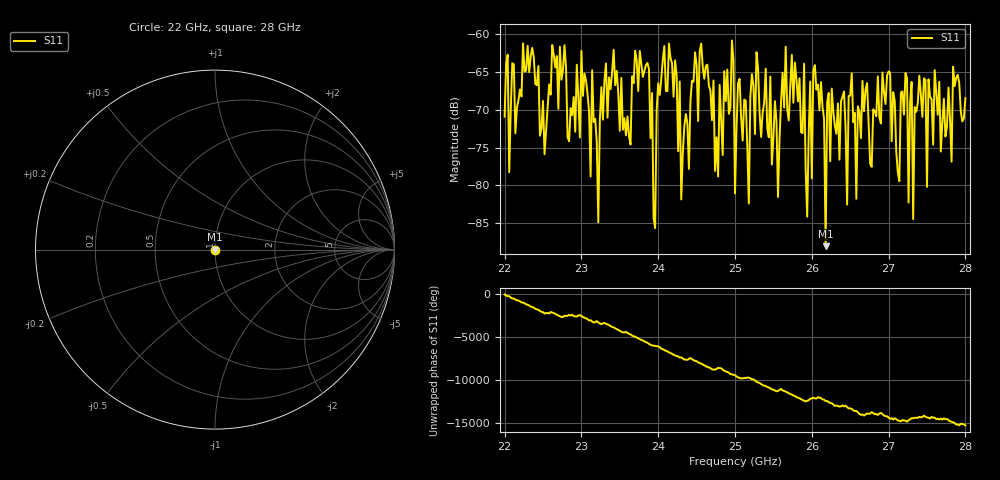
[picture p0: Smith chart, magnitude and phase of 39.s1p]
#  HZ  S  RI  R  50.00
! Rohde & Schwarz ZVA40 4Ports - Version 3.90 - 1145.1110k42 SN: 100403
! Date: 2023-10-04 09:24:13
! Measurement: S12
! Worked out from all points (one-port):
!   301 points, 22 GHz to 28 GHz, reference 50 ohm
!   lowest |S11| = -88.0 dB at 26.18 GHz (marker M1), VSWR 1.00, Z = 50 + j0.00362 ohm
!   |S11| at or under -10 dB: start of sweep to end of sweep
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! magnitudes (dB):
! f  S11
! 22 GHz  -70.9
! 22.76 GHz  -64.7
! 23.5 GHz  -72.8
! 23.76 GHz  -62.2
! 23.96 GHz  -85.6
! 24.14 GHz  -61.2
! 24.26 GHz  -75.5
! 24.56 GHz  -61.2
! 24.78 GHz  -78.8
! 24.96 GHz  -60.8
! 25 GHz  -81.1
! 25.28 GHz  -62.4
! 25.56 GHz  -81.5
! 25.66 GHz  -61.6
! 25.76 GHz  -69.0
! 26 GHz  -79.1
! 26.04 GHz  -64.1
! 26.18 GHz  -88.0
! 26.5 GHz  -68.1
! 27.14 GHz  -79.4
! 27.22 GHz  -65.1
! 27.26 GHz  -82.3
! 27.3 GHz  -66.3
! 27.32 GHz  -84.5
! 27.4 GHz  -65.5
! 27.5 GHz  -80.2
! 27.52 GHz  -65.9
! 28 GHz  -68.4
